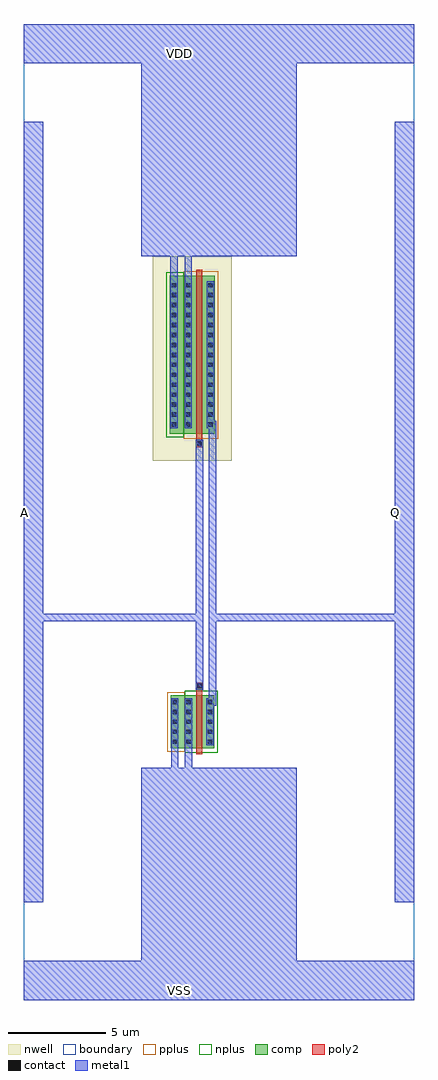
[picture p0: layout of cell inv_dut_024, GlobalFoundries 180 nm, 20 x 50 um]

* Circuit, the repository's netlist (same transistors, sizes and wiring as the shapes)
* inv_dut_024: pfet_03v3 W=8.10u L=0.30u / nfet_03v3 W=2.70u L=0.30u
.SUBCKT inv_dut_024 A Q VDD VSS
MMP Q A VDD VDD pfet_03v3 W=8.10u L=0.30u
MMN Q A VSS VSS nfet_03v3 W=2.70u L=0.30u
.ENDS

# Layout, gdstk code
import gdstk
lib = gdstk.Library(unit=1e-6, precision=1e-09)
def R(c, l, rs):  # rectangles x0, y0, x1, y1
    for r in rs: c.add(gdstk.rectangle(r[:2], r[2:], *l))
def A(c, l, x, y, w, h, nx, ny, dx, dy):  # array of equal rectangles
    R(c, l, [(x+i*dx, y+j*dy, x+i*dx+w, y+j*dy+h) for i in range(nx) for j in range(ny)])
def P(c, l, *ps):  # polygons
    for p in ps: c.add(gdstk.Polygon(p, *l))
boundary = (0, 0)
nwell = (21, 0)
comp = (22, 0)
poly2 = (30, 0)
pplus = (31, 0)
nplus = (32, 0)
contact = (33, 0)
metal1 = (34, 0)

inv_dut_024 = lib.new_cell('inv_dut_024')
R(inv_dut_024, boundary, [(-10,-25,10,25)])
R(inv_dut_024, nwell, [(-3.395,2.63,0.655,13.09)])
R(inv_dut_024, comp, [(-2.475,-12.1,-0.245,-9.4), (-2.535,4,-0.205,12.1)])
P(inv_dut_024, poly2, [(-1.155,-12.4),(-1.155,-9.1),(-1.185,-9.1),(-1.185,-8.74),(-0.825,-8.74),(-0.825,-9.1),(-0.855,-9.1),(-0.855,-12.4)],
  [(-1.195,3.32),(-1.195,3.7),(-1.155,3.7),(-1.155,12.4),(-0.855,12.4),(-0.855,3.7),(-0.815,3.7),(-0.815,3.32)])
R(inv_dut_024, pplus, [(-2.645,-12.27,-1.765,-9.23), (-1.805,3.76,-0.035,12.34)])
R(inv_dut_024, nplus, [(-1.765,-12.34,-0.075,-9.16), (-2.705,3.83,-1.805,12.27)])
A(inv_dut_024, contact, -2.375, -11.88, 0.22, 0.22, 1, 5, 0, 0.51)
A(inv_dut_024, contact, -1.665, -11.88, 0.22, 0.22, 1, 5, 0, 0.51)
A(inv_dut_024, contact, -0.565, -11.88, 0.22, 0.22, 1, 5, 0, 0.51)
A(inv_dut_024, contact, -2.415, 4.37, 0.22, 0.22, 1, 15, 0, 0.51)
A(inv_dut_024, contact, -1.685, 4.37, 0.22, 0.22, 1, 15, 0, 0.51)
A(inv_dut_024, contact, -0.545, 4.37, 0.22, 0.22, 1, 15, 0, 0.51)
R(inv_dut_024, contact, [(-1.115,-9.03,-0.895,-8.81), (-1.115,3.4,-0.895,3.62)])
R(inv_dut_024, metal1, [(-10,-25,10,-23), (-3.995,-23,3.995,-13.4), (-10,-20,-9,20), (9,-20,10,20), (-3.995,-13.7,3.995,-13.1), (-2.455,-13.7,-2.075,-9.54), (-1.745,-13.7,-1.365,-9.54), (-2.455,-11.96,-2.075,-9.54), (-1.745,-11.96,-1.365,-9.54), (-0.645,-11.96,-0.265,-9.54), (-0.645,-9.92,-0.135,-9.54), (-0.515,-9.92,-0.135,4.67), (-1.195,-9.11,-0.815,3.7), (-1.195,-9.11,-0.815,-8.73), (-9,-5.6,-3.695,-5.2), (-3.995,-5.6,-0.815,-5.2), (-0.515,-5.6,3.995,-5.2), (3.695,-5.6,9,-5.2), (-1.195,3.32,-0.815,3.7), (-2.495,4.29,-2.115,13.7), (-2.495,4.29,-2.115,11.81), (-1.765,4.29,-1.385,13.7), (-1.765,4.29,-1.385,11.81), (-0.625,4.29,-0.135,4.67), (-0.625,4.29,-0.245,11.81), (-3.995,13.1,3.995,13.7), (-3.995,13.4,3.995,23), (-10,23,10,25)])
inv_dut_024.add(gdstk.Label('VDD', (-2,23.5), layer=34, texttype=10))
inv_dut_024.add(gdstk.Label('VSS', (-2,-24.5), layer=34, texttype=10))
inv_dut_024.add(gdstk.Label('A', (-9.97,0), layer=34, texttype=10))
inv_dut_024.add(gdstk.Label('Q', (9.03,0), layer=34, texttype=10))

lib.write_gds('inv_dut_024.gds')
